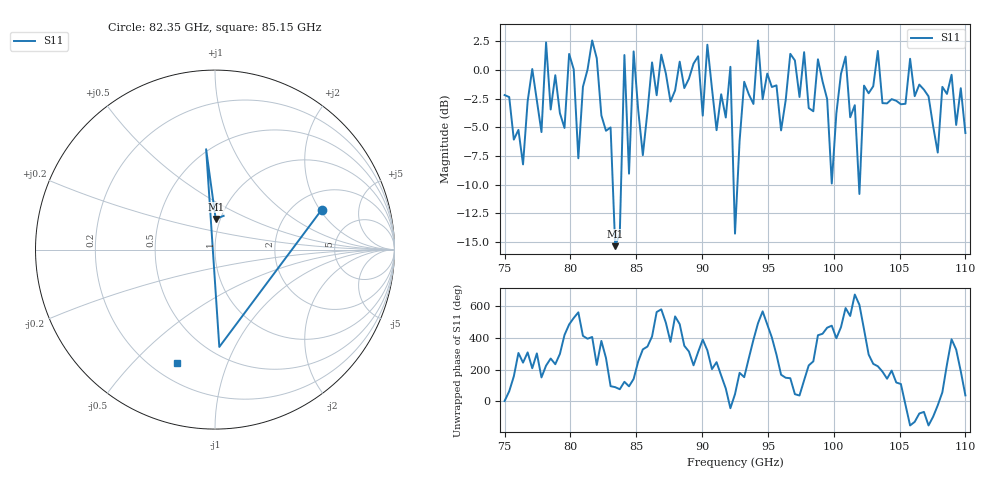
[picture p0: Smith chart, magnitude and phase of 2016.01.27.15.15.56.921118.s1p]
!Created with skrf (http://scikit-rf.org).
# GHz S RI R 50.0
!freq ReS11 ImS11
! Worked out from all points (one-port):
!   101 points, 75 GHz to 110 GHz, reference 50 ohm
!   lowest |S11| = -15.4 dB at 83.4 GHz (marker M1), VSWR 1.41, Z = 47.5 + j16.7 ohm
!   |S11| at or under -10 dB: 83.22 GHz to 83.85 GHz (626.8 MHz wide, 0.75 % of centre); 92.39736 GHz to 92.68428 GHz (286.9 MHz wide, 0.31 % of centre); 101.9134 GHz to 101.98 GHz (66.53 MHz wide, 0.0653 % of centre)
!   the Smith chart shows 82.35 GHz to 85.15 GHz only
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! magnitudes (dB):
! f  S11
! 75 GHz  -2.2
! 76.4 GHz  -8.2
! 78.15 GHz  2.4
! 79.55 GHz  -5.1
! 80.6 GHz  -7.7
! 81.65 GHz  2.6
! 83.05 GHz  -5.0
! 83.4 GHz  -15.4
! 83.75 GHz  -14.2
! 84.1 GHz  1.3
! 84.45 GHz  -9.0
! 84.8 GHz  1.6
! 85.5 GHz  -7.4
! 88.3 GHz  0.7
! 92.15 GHz  0.3
! 92.5 GHz  -14.3
! 93.2 GHz  -1.0
! 94.25 GHz  2.6
! 96 GHz  -5.3
! 97.05 GHz  0.8
! 98.8 GHz  0.9
! 99.85 GHz  -9.9
! 100.9 GHz  1.2
! 101.2 GHz  -4.1
! 102 GHz  -10.8
! 102.3 GHz  -1.4
! 105.8 GHz  1.0
! 110 GHz  -5.5
